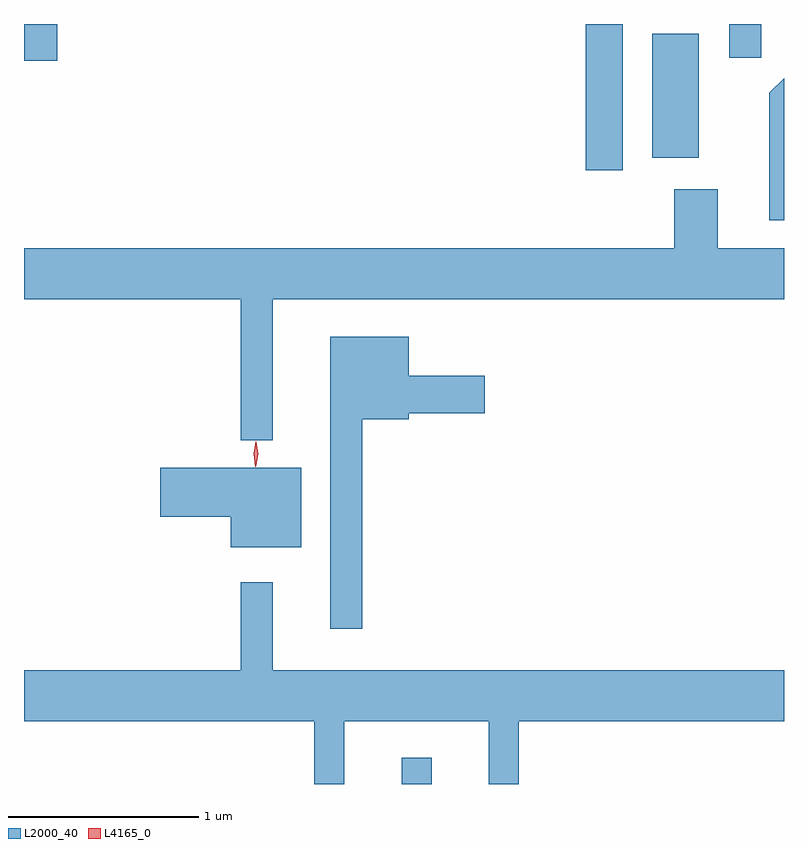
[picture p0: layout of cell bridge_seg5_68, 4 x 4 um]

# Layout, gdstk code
import gdstk
lib = gdstk.Library(unit=1e-6, precision=1e-09)
def R(c, l, rs):  # rectangles x0, y0, x1, y1
    for r in rs: c.add(gdstk.rectangle(r[:2], r[2:], *l))
def P(c, l, *ps):  # polygons
    for p in ps: c.add(gdstk.Polygon(p, *l))
L2000_40 = (2000, 40)
L4165_0 = (4165, 0)

bridge_seg5_68 = lib.new_cell('bridge_seg5_68')
R(bridge_seg5_68, L2000_40, [(1305.476,1525.285,1305.634,1525.423), (1306.446,1528.516,1306.639,1529.285), (1306.796,1528.581,1307.039,1529.234), (1303.489,1529.091,1303.664,1529.285), (1307.201,1529.108,1307.369,1529.285)])
P(bridge_seg5_68, L2000_40, [(1307.489,1529),(1307.411,1528.922),(1307.411,1528.253),(1307.489,1528.253)],
  [(1304.799,1527.836),(1307.489,1527.836),(1307.489,1528.104),(1307.139,1528.104),(1307.139,1528.414),(1306.911,1528.414),(1306.911,1528.104),(1303.489,1528.104),(1303.489,1527.836),(1304.631,1527.836),(1304.631,1527.093),(1304.799,1527.093)],
  [(1305.269,1527.206),(1305.514,1527.206),(1305.514,1527.236),(1305.914,1527.236),(1305.914,1527.434),(1305.514,1527.434),(1305.514,1527.639),(1305.101,1527.639),(1305.101,1526.103),(1305.269,1526.103)],
  [(1304.949,1526.949),(1304.206,1526.949),(1304.206,1526.691),(1304.576,1526.691),(1304.576,1526.531),(1304.949,1526.531)],
  [(1305.174,1525.616),(1305.936,1525.616),(1305.936,1525.285),(1306.094,1525.285),(1306.094,1525.616),(1307.489,1525.616),(1307.489,1525.884),(1304.799,1525.884),(1304.799,1526.348),(1304.631,1526.348),(1304.631,1525.884),(1303.489,1525.884),(1303.489,1525.616),(1305.016,1525.616),(1305.016,1525.285),(1305.174,1525.285)])
P(bridge_seg5_68, L4165_0, [(1304.707,1526.954),(1304.707,1526.954),(1304.698,1527.022),(1304.708,1527.09),(1304.709,1527.09),(1304.709,1527.09),(1304.718,1527.022),(1304.708,1526.954)],
  [(1304.712,1526.96),(1304.712,1526.96),(1304.702,1527.023),(1304.712,1527.086),(1304.712,1527.087),(1304.712,1527.086),(1304.722,1527.023),(1304.712,1526.96)])

lib.write_gds('bridge_seg5_68.gds')
